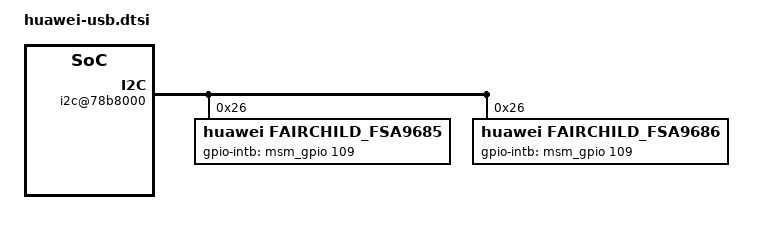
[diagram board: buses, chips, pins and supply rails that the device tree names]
/{
	usbswitch: usbswitch {
		compatible = "huawei,usbswitch";
		gpio_switch_back = "-1";
		status = "ok";
	};
};
&soc {
	i2c@78b8000{
		fairchild_fsa9685: fsa9685@26 {
			compatible = "huawei,fairchild_fsa9685";
			reg = <0x26>;
			fairchild_fsa9685,gpio-intb = <&msm_gpio 109 0>;
			status = "ok";
		};
	};
};

&soc {
	i2c@78b8000{
		fairchild_fsa9686: fsa9686@26 {
			compatible = "huawei,fairchild_fsa9686";
			reg = <0x26>;
			fairchild_fsa9685,gpio-intb = <&msm_gpio 109 0>;
			status = "ok";
		};
	};
};

&usb_otg {
	qcom,hsusb-otg-mode = <1>;
	vbus_otg-supply = <&bq24296_otg_supply>;
};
